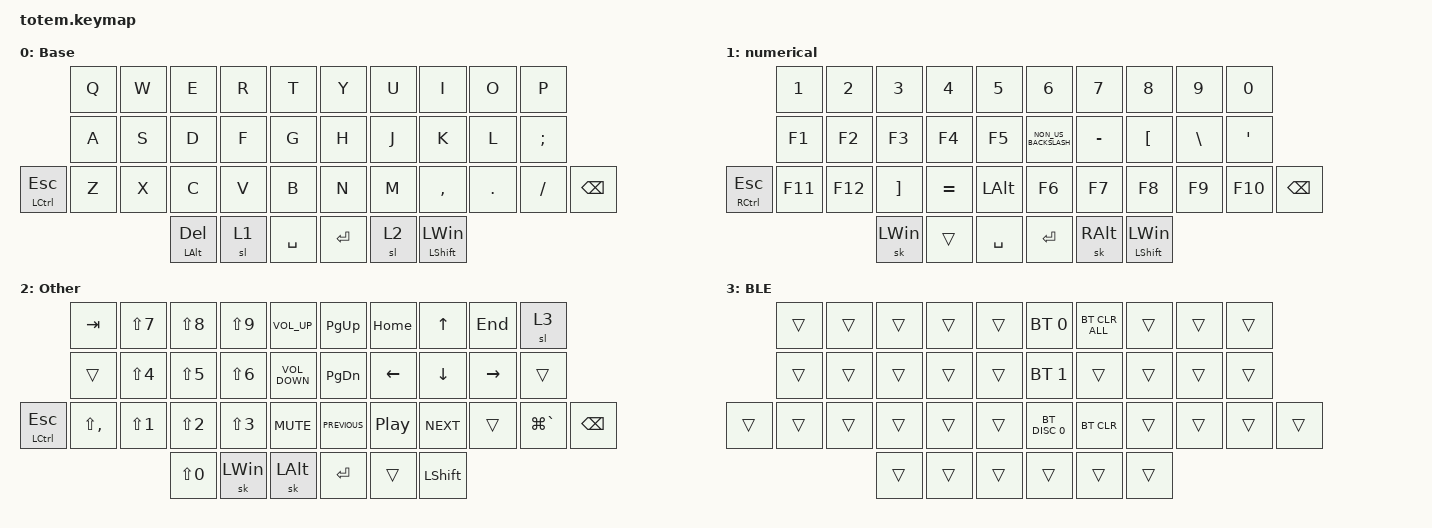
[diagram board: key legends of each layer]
#include <behaviors.dtsi>
#include <dt-bindings/zmk/bt.h>
#include <dt-bindings/zmk/keys.h>

/ {
    combos {
        compatible = "zmk,combos";

        tab {
            bindings = <&kp TAB>;
            key-positions = <0 1>;
        };
    };

    keymap {
        compatible = "zmk,keymap";

        Base {
            bindings = <
                  &kp Q  &kp W  &kp E             &kp R  &kp T        &kp Y    &kp U  &kp I                    &kp O    &kp P
                  &kp A  &kp S  &kp D             &kp F  &kp G        &kp H    &kp J  &kp K                    &kp L    &kp SEMI
&mt LCTRL ESCAPE  &kp Z  &kp X  &kp C             &kp V  &kp B        &kp N    &kp M  &kp COMMA                &kp DOT  &kp FSLH  &kp BACKSPACE
                                &mt LEFT_ALT DEL  &sl 1  &kp SPACE    &kp RET  &sl 2  &mt LEFT_SHIFT LEFT_WIN
            >;
        };

        numerical {
            bindings = <
                  &kp NUMBER_1  &kp N2   &kp N3             &kp N4     &kp N5          &kp N6                &kp N7         &kp N8                   &kp N9    &kp N0
                  &kp F1        &kp F2   &kp F3             &kp F4     &kp F5          &kp NON_US_BACKSLASH  &kp MINUS      &kp LEFT_BRACKET         &kp BSLH  &kp SQT
&mt RCTRL ESCAPE  &kp F11       &kp F12  &kp RIGHT_BRACKET  &kp EQUAL  &kp LEFT_ALT    &kp F6                &kp F7         &kp F8                   &kp F9    &kp F10  &kp BACKSPACE
                                         &sk LEFT_WIN       &trans     &kp SPACE       &kp RET               &sk RIGHT_ALT  &mt LEFT_SHIFT LEFT_WIN
            >;
        };

        Other {
            bindings = <
                  &kp TAB        &kp LS(N7)        &kp LS(N8)        &kp LS(N9)        &kp C_VOLUME_UP      &kp PAGE_UP     &kp HOME          &kp UP_ARROW    &kp END          &sl 3
                  &trans         &kp LS(NUMBER_4)  &kp LS(N5)        &kp LS(NUMBER_6)  &kp C_VOLUME_DOWN    &kp PAGE_DOWN   &kp LEFT_ARROW    &kp DOWN_ARROW  &kp RIGHT_ARROW  &trans
&mt LCTRL ESCAPE  &kp LS(COMMA)  &kp LS(NUMBER_1)  &kp LS(NUMBER_2)  &kp LS(NUMBER_3)  &kp C_MUTE           &kp C_PREVIOUS  &kp C_PLAY_PAUSE  &kp C_NEXT      &trans           &kp LG(GRAVE)  &kp BACKSPACE
                                                   &kp LS(N0)        &sk LEFT_WIN      &sk LEFT_ALT         &kp ENTER       &trans            &kp LEFT_SHIFT
            >;
        };

        BLE {
            bindings = <
        &trans  &trans  &trans  &trans  &trans    &bt BT_SEL 0   &bt BT_CLR_ALL  &trans  &trans  &trans
        &trans  &trans  &trans  &trans  &trans    &bt BT_SEL 1   &trans          &trans  &trans  &trans
&trans  &trans  &trans  &trans  &trans  &trans    &bt BT_DISC 0  &bt BT_CLR      &trans  &trans  &trans  &trans
                        &trans  &trans  &trans    &trans         &trans          &trans
            >;
        };
    };
};
